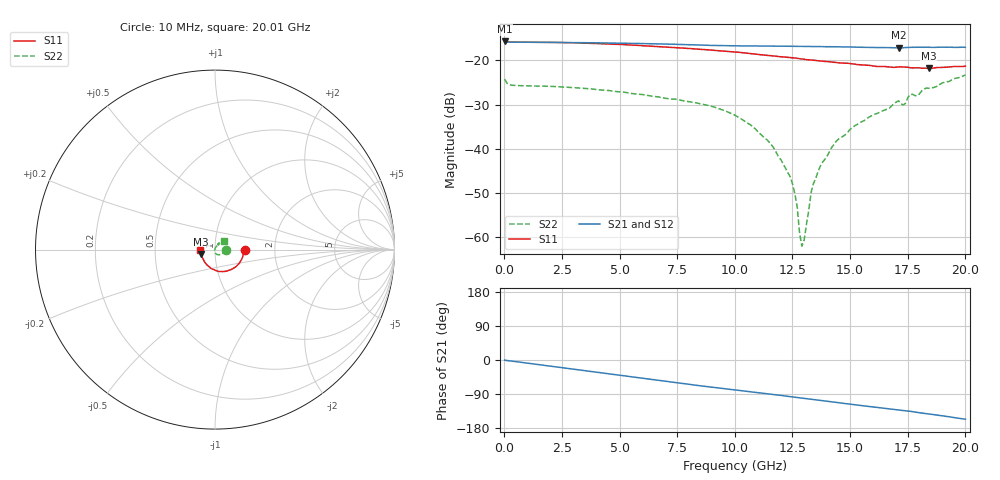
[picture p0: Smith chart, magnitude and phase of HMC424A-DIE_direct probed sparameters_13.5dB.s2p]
!s2p File: Measurements: S11, S21, S12, S22
# GHz S dB R 50.0
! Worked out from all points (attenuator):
!   201 points, 10 MHz to 20.01 GHz, reference 50 ohm
!   highest |S21| = -15.73 dB at 10 MHz (marker M1); lowest = -17.2 dB at 17.11 GHz (marker M2)
!   lowest |S11| = -21.8 dB at 18.41 GHz (marker M3), VSWR 1.18, Z = 42.8 - j2.18 ohm
!   |S11| at or under -10 dB: start of sweep to end of sweep
!   |S22| runs from -62.0 to -23.3 dB; largest |S21 - S12| = 0.0013
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0.01  -15.53 -0.7  -15.73 -0.4  -15.71 -0.4  -24.26 -1.8
0.31  -15.88 -2.9  -15.90 -2.9  -15.90 -2.9  -25.62 -4.8
3.41  -16.13 -25.6  -16.03 -27.7  -16.03 -27.7  -26.34 -25.2
6.71  -16.93 -51.5  -16.31 -54.2  -16.31 -54.2  -28.30 -47.7
10.01  -18.13 -79.4  -16.74 -78.8  -16.75 -78.7  -32.41 -78.1
11.41  -18.91 -92.1  -16.80 -89.0  -16.80 -89.0  -38.00 -93.3
12.41  -19.39 -101.2  -16.84 -96.7  -16.85 -96.5  -46.32 -109.5
12.71  -19.56 -104.0  -16.85 -98.9  -16.87 -98.9  -53.08 -138.1
12.81  -19.63 -104.9  -16.87 -99.7  -16.87 -99.7  -58.86 -154.7
12.91  -19.72 -105.7  -16.87 -100.4  -16.87 -100.4  -61.97 174.3
13.01  -19.77 -106.7  -16.88 -101.2  -16.88 -101.2  -60.62 107.1
13.31  -19.94 -109.4  -16.90 -103.5  -16.91 -103.3  -49.92 94.2
13.41  -19.98 -110.5  -16.90 -104.2  -16.92 -104.2  -47.90 86.0
13.71  -20.17 -113.6  -16.91 -106.5  -16.91 -106.5  -43.92 80.8
14.41  -20.51 -120.6  -16.95 -111.8  -16.96 -111.8  -38.25 74.3
15.21  -20.88 -128.5  -17.02 -118.1  -17.02 -118.0  -34.77 66.2
16.71  -21.50 -144.2  -17.15 -129.1  -17.13 -129.1  -30.83 61.4
17.11  -21.52 -147.6  -17.19 -132.0  -17.13 -132.0  -29.16 55.1
17.31  -21.52 -150.2  -17.18 -133.3  -17.16 -133.5  -30.09 55.8
17.61  -21.69 -153.3  -17.09 -135.3  -17.13 -135.8  -27.72 58.8
18.41  -21.82 -161.8  -17.07 -142.3  -17.09 -142.2  -26.33 50.0
20.01  -21.34 179.9  -17.09 -156.3  -17.07 -156.2  -23.30 42.1
